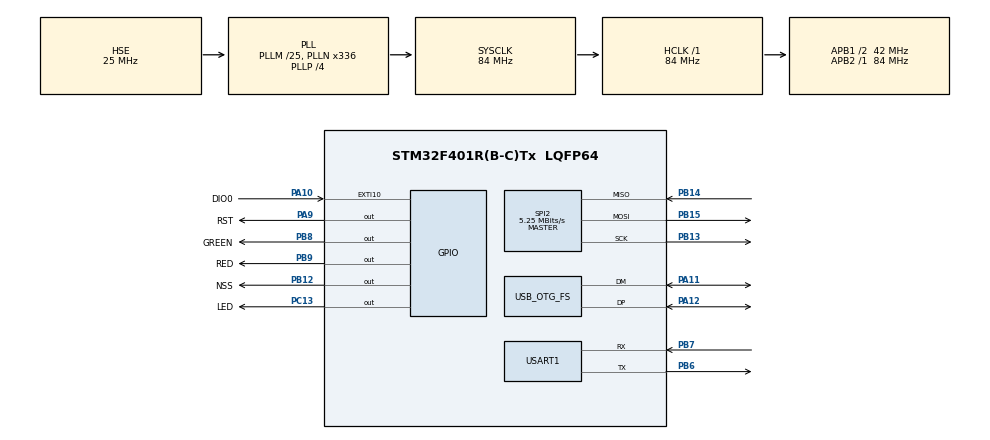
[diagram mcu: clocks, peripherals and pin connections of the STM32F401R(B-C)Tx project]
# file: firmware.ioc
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Mcu.Family=STM32F4
Mcu.Name=STM32F401R(B-C)Tx
Mcu.Package=LQFP64
NVIC.EXTI15_10_IRQn=true\:0\:0\:false\:false\:true\:true\:true\:true
NVIC.OTG_FS_IRQn=true\:0\:0\:false\:false\:true\:true\:true\:true
NVIC.PriorityGroup=NVIC_PRIORITYGROUP_4
PA10.GPIO_Label=DIO0
PA10.Signal=GPXTI10
PA11.Mode=Device_Only
PA11.Signal=USB_OTG_FS_DM
PA12.Mode=Device_Only
PA12.Signal=USB_OTG_FS_DP
PA13.Mode=Serial_Wire
PA13.Signal=SYS_JTMS-SWDIO
PA14.Mode=Serial_Wire
PA14.Signal=SYS_JTCK-SWCLK
PA9.GPIO_Label=RST
PA9.PinState=GPIO_PIN_SET
PA9.Signal=GPIO_Output
PB12.GPIO_Label=NSS
PB12.PinState=GPIO_PIN_SET
PB12.Signal=GPIO_Output
PB13.Mode=Full_Duplex_Master
PB13.Signal=SPI2_SCK
PB14.Mode=Full_Duplex_Master
PB14.Signal=SPI2_MISO
PB15.Mode=Full_Duplex_Master
PB15.Signal=SPI2_MOSI
PB6.Mode=Asynchronous
PB6.Signal=USART1_TX
PB7.Mode=Asynchronous
PB7.Signal=USART1_RX
PB8.GPIO_Label=GREEN
PB8.GPIO_ModeDefaultOutputPP=GPIO_MODE_OUTPUT_PP
PB8.GPIO_PuPd=GPIO_NOPULL
PB8.PinState=GPIO_PIN_RESET
PB8.Signal=GPIO_Output
PB9.GPIO_Label=RED
PB9.GPIO_ModeDefaultOutputPP=GPIO_MODE_OUTPUT_PP
PB9.GPIO_PuPd=GPIO_NOPULL
PB9.PinState=GPIO_PIN_RESET
PB9.Signal=GPIO_Output
PC13-ANTI_TAMP.GPIO_Label=LED
PC13-ANTI_TAMP.Signal=GPIO_Output
PH0\ -\ OSC_IN.Mode=HSE-External-Oscillator
PH0\ -\ OSC_IN.Signal=RCC_OSC_IN
PH1\ -\ OSC_OUT.Mode=HSE-External-Oscillator
PH1\ -\ OSC_OUT.Signal=RCC_OSC_OUT
ProjectManager.HeapSize=0x200
ProjectManager.StackSize=0x400
ProjectManager.TargetToolchain=Makefile
RCC.48MHZClocksFreq_Value=48000000
RCC.AHBFreq_Value=84000000
RCC.APB1CLKDivider=RCC_HCLK_DIV2
RCC.APB1Freq_Value=42000000
RCC.APB1TimFreq_Value=84000000
RCC.APB2Freq_Value=84000000
RCC.APB2TimFreq_Value=84000000
RCC.CortexFreq_Value=84000000
RCC.HCLKFreq_Value=84000000
RCC.HSE_VALUE=25000000
RCC.HSI_VALUE=16000000
RCC.LSE_VALUE=32768
RCC.PLLM=25
RCC.PLLN=336
RCC.PLLP=RCC_PLLP_DIV4
RCC.PLLQ=7
RCC.SYSCLKFreq_VALUE=84000000
RCC.SYSCLKSource=RCC_SYSCLKSOURCE_PLLCLK
RCC.VCOOutputFreq_Value=336000000
SPI2.BaudRatePrescaler=SPI_BAUDRATEPRESCALER_8
SPI2.CalculateBaudRate=5.25 MBits/s
SPI2.Direction=SPI_DIRECTION_2LINES
SPI2.Mode=SPI_MODE_MASTER
SPI2.VirtualType=VM_MASTER
USART1.VirtualMode=VM_ASYNC
USB_DEVICE.CLASS_NAME_FS=CDC
USB_DEVICE.MANUFACTURER_STRING=LUFT-AQUILA
USB_DEVICE.PID_CDC_FS=0x0514
USB_DEVICE.PRODUCT_STRING_CDC_FS=FSK-TC
USB_DEVICE.VID=0x1999
USB_DEVICE.VirtualMode=Cdc
USB_DEVICE.VirtualModeFS=Cdc_FS
USB_OTG_FS.VirtualMode=Device_Only
VP_CRC_VS_CRC.Mode=CRC_Activate
VP_USB_DEVICE_VS_USB_DEVICE_CDC_FS.Mode=CDC_FS
board=custom

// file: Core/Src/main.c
/* USER CODE BEGIN Header */
/**
  ******************************************************************************
  * @file           : main.c
  * @brief          : Main program body
  ******************************************************************************
  * @attention
  *
  * Copyright (c) 2024 STMicroelectronics.
  * All rights reserved.
  *
  * This software is licensed under terms that can be found in the LICENSE file
  * in the root directory of this software component.
  * If no LICENSE file comes with this software, it is provided AS-IS.
  *
  ******************************************************************************
  */
/* USER CODE END Header */
#include "main.h"
#include "crc.h"
#include "spi.h"
#include "usart.h"
#include "usb_device.h"
#include "gpio.h"

/* USER CODE BEGIN Includes */
#include <stdint.h>

#include "LoRa.h"

#define DEVICE_TYPE_CONTROLLER
#include "common.h"
/* USER CODE END Includes */

/* USER CODE BEGIN PV */
uint8_t id = DEVICE_ID_INVALID;
uint32_t mode = MODE_STARTUP;

/* LoRa object, receive buffer and flag */
LoRa rf;

uint32_t exti_rf = false;
uint32_t exti_rf_timestamp = 0;

uint8_t rf_buf[UINT8_MAX];
uint8_t rf_buf_read = 0;

/* sensors to use */
uint32_t cnt_sensor = 0;
uint32_t cnt_sensor_ready = 0;
uint8_t sensors[UINT8_MAX];
uint8_t sensors_ready[UINT8_MAX];

/* USB buffer and flag */
uint32_t usb_rcv_flag = false;
extern uint8_t UserRxBufferFS[];
extern uint8_t UserTxBufferFS[];

/* USB CDC command from the host system */
typedef enum {
  CMD_HELLO,
  CMD_SENSOR,
  CMD_GREEN,
  CMD_RED,
  CMD_OFF,
  CMD_RESET,
  CMD_COUNT,
} usb_cmd_type_t;

const char usb_cmd[CMD_COUNT][MAX_LEN_USB_CMD + 1] = {
  "$HELLO",
  "$SENSOR",
  "$GREEN",
  "$RED",
  "$OFF",
  "$RESET",
};

/* USER CODE END PV */

void SystemClock_Config(void);

/* USER CODE BEGIN 0 */
void HAL_GPIO_EXTI_Callback(uint16_t GPIO_Pin) {
  // RF data received
  if (GPIO_Pin == DIO0_Pin) {
    exti_rf = true;
    exti_rf_timestamp = HAL_GetTick();
    rf_buf_read = LoRa_receive(&rf, rf_buf, sizeof(rf_buf));
    HAL_GPIO_WritePin(LED_GPIO_Port, LED_Pin, GPIO_PIN_RESET);
    DEBUG_MSG("\nrcv %dB\n", rf_buf_read);
  }
}

int _write(int file, uint8_t *ptr, int len) {
  HAL_UART_Transmit(&huart1, (uint8_t *)ptr, (uint16_t)len, 30);
  return (len);
}
/* USER CODE END 0 */

int main(void)
{

  /* MCU Configuration--------------------------------------------------------*/

  /* Reset of all peripherals, Initializes the Flash interface and the Systick. */
  HAL_Init();

  /* Configure the system clock */
  SystemClock_Config();

  /* Initialize all configured peripherals */
  MX_GPIO_Init();
  MX_SPI2_Init();
  MX_CRC_Init();
  MX_USART1_UART_Init();
  MX_USB_DEVICE_Init();
  /* USER CODE BEGIN 2 */
  HAL_GPIO_WritePin(LED_GPIO_Port, LED_Pin, GPIO_PIN_SET);

  // get device id
  id = get_device_id();
  DEBUG_MSG("\nid: %u\n", id);

  // init Ra-01H LoRa transceiver
  rf = newLoRa();
  rf.CS_port = NSS_GPIO_Port;
  rf.CS_pin = NSS_Pin;
  rf.reset_port = RST_GPIO_Port;
  rf.reset_pin = RST_Pin;
  rf.DIO0_port = DIO0_GPIO_Port;
  rf.DIO0_pin = DIO0_Pin;
  rf.hSPIx = &hspi2;

  rf.frequency = 923;             // CH 30 922.9 Mhz
  rf.spredingFactor = SF_7;
  rf.bandWidth = BW_125KHz;
  rf.crcRate = CR_4_5;
  rf.power = POWER_14db;          // 25 mW
  rf.overCurrentProtection = 100; // 100 mA
  rf.preamble = 8;

  if (LoRa_init(&rf) != LORA_OK) {
    DEBUG_MSG("\nLoRa init failed\n");
    Error_Handler();
  }

  /*****************************************************************************
   * FSK-TC CONTROLLER workflow                                                *
   *   1. wait for start command from the USB host                             *
   *   2. register sensor devices                                              *
   *   3. run LSNTP time sync server until all sensors are READY               *
   *   4. listen sensor REPORT                                                 *
   *   5. control traffic light                                                *
   ****************************************************************************/

  // flash traffic light 3 times
  for (int i = 0; i < 6; i++) {
    // on at even, off at odd
    RED(!(i & 0b01));
    GREEN(!(i & 0b01));
    HAL_Delay(200);
  }

  mode = MODE_USB_READY;
  /* USER CODE END 2 */

  /* Infinite loop */
  /* USER CODE BEGIN WHILE */
  while (1) {
    switch (mode) {
      case MODE_USB_READY: {
        // ignore lora
        if (exti_rf) {
          exti_rf = false;
          HAL_GPIO_WritePin(LED_GPIO_Port, LED_Pin, GPIO_PIN_SET);
        }

        if (usb_rcv_flag) {
          /*************************************************************************
           * protocol $SENSOR: set sensors to use. $READY-ALL on all sensor LSNTP done
           *   request : $SENSOR <%03d sensor count> <...%03d sensor ids>
           *   response: $LSNTP on start, $READY-ALL on finish
           ************************************************************************/
          if (USB_Command(CMD_SENSOR)) {
            uint8_t *cmd = UserRxBufferFS + strlen(usb_cmd[CMD_SENSOR]) + 1;

            // read sensor count
            *(cmd + 3) = '\0';
            cnt_sensor = atoi((const char *)cmd);
            cnt_sensor_ready = 0;
            cmd += 4;

            // read sensor ids
            for (int i = 0; i < cnt_sensor; i++) {
              *(cmd + 3) = '\0';
              sensors[i] = atoi((const char *)cmd);
              sensors_ready[i] = false;
              cmd += 4;
            }

            // start LSNTP server
            mode = MODE_LSNTP;
            LoRa_startReceiving(&rf);
            USB_Transmit("$LSNTP!");
          }

          /*************************************************************************
           * protocol $HELLO: greetings!
           *   request : $HELLO
           *   response: $HI <%03d my id>
           ************************************************************************/
          else if (USB_Command(CMD_HELLO)) {
            sprintf((char *)UserTxBufferFS, "$HI %03u!", id);
            USB_Transmit(UserTxBufferFS);
          }

          /*************************************************************************
           * protocol $RESET: see you again!
           *   request : $RESET
           *   response: -
           ************************************************************************/
          else if (USB_Command(CMD_RESET)) {
            NVIC_SystemReset();
          }

          // unknown command
          else {
            USB_Transmit("$ERROR!");
          }

          usb_rcv_flag = false;
        }

        break;
      } /* MODE_USB_READY */

      case MODE_LSNTP: {
        if (exti_rf) {
          uint8_t *pos = rf_buf;

          while (pos < rf_buf + rf_buf_read) {
            if (*pos != LORA_HEADER_MAGIC) {
              pos++;
              continue;
            }

            // read packet header
            uint32_t size = 0;
            lora_header_t *req = (lora_header_t *)pos;

            switch (req->protocol) {
              case LORA_LSNTP_REQ: {
                size = sizeof(lora_lsntp_req_t);
                break;
              }

              case LORA_READY: {
                size = sizeof(lora_ready_t);
                break;
              }

              // unknown protocol
              default: {
                pos++;
                continue;
              }
            } /* switch (req->protocol) */

            // no full packet received
            if (pos + size > rf_buf + rf_buf_read) {
              break;
            }

            // checksum failure
            int32_t ret = lora_verify(id, req, size);

            if (ret != LORA_STATUS_OK) {
              DEBUG_MSG("  packet verify failure; result: %ld\n", ret);
              pos++;
              continue;
            }

            // check sender in the registered sensors list
            int32_t registered = false;

            for (int i = 0; i < cnt_sensor; i++) {
              if (req->sender == sensors[i]) {
                registered = true;
                break;
              }
            }

            // ignore unregistered sensors
            if (!registered) {
              pos += size;
              continue;
            }

            // send reply
            switch (req->protocol) {
              case LORA_LSNTP_REQ: {
                lora_lsntp_res_t reply;
                reply.header.protocol = LORA_LSNTP_RES;
                reply.header.sequence = req->sequence;
                reply.header.sender = id;
                reply.header.receiver = req->sender;
                reply.client_req_tx = ((lora_lsntp_req_t *)req)->client_req_tx;
                reply.server_req_rx = exti_rf_timestamp;
                reply.server_res_tx = HAL_GetTick();
                lora_set_checksum(&reply.header, sizeof(lora_lsntp_res_t));
                HAL_GPIO_WritePin(LED_GPIO_Port, LED_Pin, GPIO_PIN_RESET);
                LoRa_transmit(&rf, (uint8_t *)&reply, sizeof(lora_lsntp_res_t), 500);
                HAL_GPIO_WritePin(LED_GPIO_Port, LED_Pin, GPIO_PIN_SET);
                break;
              }

              case LORA_READY: {
                lora_ack_t ack;
                ack.header.protocol = LORA_ACK;
                ack.header.sequence = req->sequence;
                ack.header.sender = id;
                ack.header.receiver = req->sender;

                // accept but not increase ready count if the sensor is already registered
                if (sensors_ready[req->sender] == false) {
                  sensors_ready[req->sender] = true;
                  cnt_sensor_ready++;
                }

                lora_set_checksum(&ack.header, sizeof(lora_ack_t));
                HAL_GPIO_WritePin(LED_GPIO_Port, LED_Pin, GPIO_PIN_RESET);
                LoRa_transmit(&rf, (uint8_t *)&ack, sizeof(lora_ack_t), 500);
                HAL_GPIO_WritePin(LED_GPIO_Port, LED_Pin, GPIO_PIN_SET);

                /*************************************************************
                 * protocol $READY: notify sensor ready
                 *   notify: $READY <%03d sensor id> <%d sensor offset>
                 ************************************************************/
                sprintf((char *)UserTxBufferFS, "$READY %03u %ld!", req->sender, ((lora_ready_t *)req)->offset);
                USB_Transmit(UserTxBufferFS);

                break;
              }
            } /* switch (header->protocol)*/

            pos += size;
          } /* while buffer */

          exti_rf = false;
          HAL_GPIO_WritePin(LED_GPIO_Port, LED_Pin, GPIO_PIN_SET);
        } /* exti_rf */

        // all registered sensors are ready
        if (cnt_sensor_ready == cnt_sensor) {
          mode = MODE_OPERATION;
          USB_Transmit("$READY-ALL!");
        }

        if (usb_rcv_flag) {
          /*************************************************************************
           * protocol $RESET: see you again!
           *   request : $RESET
           *   response: -
           ************************************************************************/
          if (USB_Command(CMD_RESET)) {
            NVIC_SystemReset();
          }

          // unknown command
          else {
            USB_Transmit("$ERROR!");
          }

          usb_rcv_flag = false;
        }
        break;
      } /* MODE_LSNTP */

      case MODE_OPERATION: {
        if (exti_rf) {
          uint8_t *pos = rf_buf;

          while (pos < rf_buf + rf_buf_read) {
            if (*pos != LORA_HEADER_MAGIC) {
              pos++;
              continue;
            }

            // read packet header
            uint32_t size = sizeof(lora_sensor_report_t);
            lora_header_t *req = (lora_header_t *)pos;

            // unknown protocol
            if (req->protocol != LORA_SENSOR_REPORT) {
              pos++;
              continue;
            }

            // no full packet received
            if (pos + size > rf_buf + rf_buf_read) {
              break;
            }

            // checksum failure
            int32_t ret = lora_verify(id, req, size);

            if (ret != LORA_STATUS_OK) {
              DEBUG_MSG("  packet verify failure; result: %ld\n", ret);
              pos++;
              continue;
            }

            lora_ack_t ack;
            ack.header.protocol = LORA_ACK;
            ack.header.sequence = req->sequence;
            ack.header.sender = id;
            ack.header.receiver = req->sender;
            lora_set_checksum(&ack.header, sizeof(lora_ack_t));
            HAL_GPIO_WritePin(LED_GPIO_Port, LED_Pin, GPIO_PIN_RESET);
            LoRa_transmit(&rf, (uint8_t *)&ack, sizeof(lora_ack_t), 500);
            HAL_GPIO_WritePin(LED_GPIO_Port, LED_Pin, GPIO_PIN_SET);

            /*************************************************************
             * protocol $REPORT: notify sensor report
             *   notify: $REPORT <%03d sensor id> <%d timestamp>
             ************************************************************/
            sprintf((char *)UserTxBufferFS, "$REPORT %03u %lu!", req->sender, ((lora_sensor_report_t *)req)->timestamp);
            USB_Transmit(UserTxBufferFS)

            pos += size;
          } /* while buffer */

          exti_rf = false;
          HAL_GPIO_WritePin(LED_GPIO_Port, LED_Pin, GPIO_PIN_SET);
        } /* exti_rf */

        if (usb_rcv_flag) {
          /*************************************************************************
           * protocol $GREEN: GREEN ON, RED OFF. mark timestamp
           *   request : $GREEN
           *   response: $START <start timestamp>
           ************************************************************************/
          if (USB_Command(CMD_GREEN)) {
            RED(false);
            GREEN(true);

            uint32_t start_time = HAL_GetTick();

            sprintf((char *)UserTxBufferFS, "$START %lu!", start_time);
            USB_Transmit(UserTxBufferFS);
          }

          /*************************************************************************
           * protocol $RED: RED ON, GREEN OFF.
           *   request : $RED
           *   response: $OK-RED
           ************************************************************************/
          else if (USB_Command(CMD_RED)) {
            RED(true);
            GREEN(false);

            USB_Transmit("$OK-RED!");
          }

          /*************************************************************************
           * protocol $OFF: RED OFF, GREEN OFF
           *   request : $OFF
           *   response: $OK-OFF
           ************************************************************************/
          else if (USB_Command(CMD_OFF)) {
            RED(false);
            GREEN(false);

            USB_Transmit("$OK-OFF!");
          }

          /*************************************************************************
           * protocol $RESET: see you again!
           *   request : $RESET
           *   response: -
           ************************************************************************/
          else if (USB_Command(CMD_RESET)) {
            NVIC_SystemReset();
          }

          // unknown command
          else {
            USB_Transmit("$ERROR!");
          }

          usb_rcv_flag = false;
        }

        break;
      } /* MODE_OPERATION */

      default:
        if (exti_rf) {
          exti_rf = false;
          HAL_GPIO_WritePin(LED_GPIO_Port, LED_Pin, GPIO_PIN_SET);
        }
        break;
    }
    /* USER CODE END WHILE */

  }
}

void SystemClock_Config(void)
{
  RCC_OscInitTypeDef RCC_OscInitStruct = {0};
  RCC_ClkInitTypeDef RCC_ClkInitStruct = {0};

  /** Configure the main internal regulator output voltage
  */
  __HAL_RCC_PWR_CLK_ENABLE();
  __HAL_PWR_VOLTAGESCALING_CONFIG(PWR_REGULATOR_VOLTAGE_SCALE2);

  /** Initializes the RCC Oscillators according to the specified parameters
  * in the RCC_OscInitTypeDef structure.
  */
  RCC_OscInitStruct.OscillatorType = RCC_OSCILLATORTYPE_HSE;
  RCC_OscInitStruct.HSEState = RCC_HSE_ON;
  RCC_OscInitStruct.PLL.PLLState = RCC_PLL_ON;
  RCC_OscInitStruct.PLL.PLLSource = RCC_PLLSOURCE_HSE;
  RCC_OscInitStruct.PLL.PLLM = 25;
  RCC_OscInitStruct.PLL.PLLN = 336;
  RCC_OscInitStruct.PLL.PLLP = RCC_PLLP_DIV4;
  RCC_OscInitStruct.PLL.PLLQ = 7;
  if (HAL_RCC_OscConfig(&RCC_OscInitStruct) != HAL_OK)
  {
    Error_Handler();
  }

  /** Initializes the CPU, AHB and APB buses clocks
  */
  RCC_ClkInitStruct.ClockType = RCC_CLOCKTYPE_HCLK|RCC_CLOCKTYPE_SYSCLK
                              |RCC_CLOCKTYPE_PCLK1|RCC_CLOCKTYPE_PCLK2;
  RCC_ClkInitStruct.SYSCLKSource = RCC_SYSCLKSOURCE_PLLCLK;
  RCC_ClkInitStruct.AHBCLKDivider = RCC_SYSCLK_DIV1;
  RCC_ClkInitStruct.APB1CLKDivider = RCC_HCLK_DIV2;
  RCC_ClkInitStruct.APB2CLKDivider = RCC_HCLK_DIV1;

  if (HAL_RCC_ClockConfig(&RCC_ClkInitStruct, FLASH_LATENCY_2) != HAL_OK)
  {
    Error_Handler();
  }
}

void Error_Handler(void)
{
  /* USER CODE BEGIN Error_Handler_Debug */
  /* User can add his own implementation to report the HAL error return state */
  DEBUG_MSG("\nERROR!\n");

  while (1) {
    HAL_GPIO_TogglePin(LED_GPIO_Port, LED_Pin);
    HAL_Delay(100);
  }
  /* USER CODE END Error_Handler_Debug */
}
